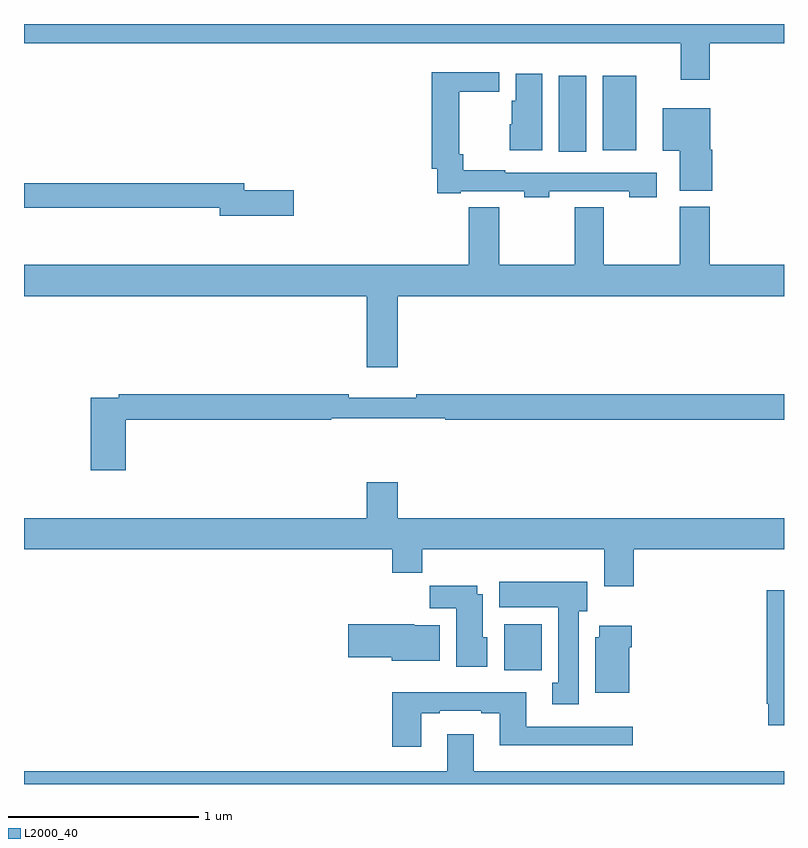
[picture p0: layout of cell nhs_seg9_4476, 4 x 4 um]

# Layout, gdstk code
import gdstk
lib = gdstk.Library(unit=1e-6, precision=1e-09)
def R(c, l, rs):  # rectangles x0, y0, x1, y1
    for r in rs: c.add(gdstk.rectangle(r[:2], r[2:], *l))
def P(c, l, *ps):  # polygons
    for p in ps: c.add(gdstk.Polygon(p, *l))
L2000_40 = (2000, 40)

nhs_seg9_4476 = lib.new_cell('nhs_seg9_4476')
R(nhs_seg9_4476, L2000_40, [(369.527,1213.1,369.724,1213.342), (369.815,1215.828,369.958,1216.228), (370.046,1215.836,370.222,1216.228)])
P(nhs_seg9_4476, L2000_40, [(370.61,1216.4),(371,1216.4),(371,1216.5),(367,1216.5),(367,1216.4),(370.457,1216.4),(370.457,1216.206),(370.61,1216.206)],
  [(369.765,1215.621),(370.185,1215.621),(370.185,1215.589),(370.33,1215.589),(370.33,1215.717),(369.533,1215.717),(369.533,1215.73),(369.311,1215.73),(369.311,1215.814),(369.292,1215.814),(369.292,1216.144),(369.502,1216.144),(369.502,1216.246),(369.146,1216.246),(369.146,1215.737),(369.175,1215.737),(369.175,1215.609),(369.298,1215.609),(369.298,1215.621),(369.633,1215.621),(369.633,1215.589),(369.765,1215.589)],
  [(369.727,1216.237),(369.587,1216.237),(369.587,1216.095),(369.566,1216.095),(369.566,1215.972),(369.557,1215.972),(369.557,1215.836),(369.727,1215.836)],
  [(370.622,1215.837),(370.612,1215.837),(370.612,1216.057),(370.361,1216.057),(370.361,1215.833),(370.451,1215.833),(370.451,1215.623),(370.622,1215.623)],
  [(368.419,1215.626),(368.158,1215.626),(368.158,1215.662),(367,1215.662),(367,1215.534),(368.03,1215.534),(368.03,1215.491),(368.419,1215.491)],
  [(368.968,1215.068),(371,1215.068),(371,1215.232),(370.61,1215.232),(370.61,1215.538),(370.45,1215.538),(370.45,1215.232),(370.052,1215.232),(370.052,1215.536),(369.898,1215.536),(369.898,1215.232),(369.5,1215.232),(369.5,1215.536),(369.341,1215.536),(369.341,1215.232),(367,1215.232),(367,1215.068),(368.804,1215.068),(368.804,1214.694),(368.968,1214.694)],
  [(367.535,1214.416),(368.618,1214.416),(368.618,1214.424),(369.218,1214.424),(369.218,1214.416),(371,1214.416),(371,1214.552),(369.064,1214.552),(369.064,1214.533),(368.708,1214.533),(368.708,1214.552),(367.498,1214.552),(367.498,1214.532),(367.352,1214.532),(367.352,1214.151),(367.535,1214.151)],
  [(370.208,1213.736),(371,1213.736),(371,1213.9),(368.968,1213.9),(368.968,1214.089),(368.804,1214.089),(368.804,1213.9),(367,1213.9),(367,1213.736),(368.939,1213.736),(368.939,1213.612),(369.095,1213.612),(369.095,1213.736),(370.055,1213.736),(370.055,1213.542),(370.208,1213.542)],
  [(369.919,1213.41),(369.964,1213.41),(369.964,1213.564),(369.5,1213.564),(369.5,1213.43),(369.812,1213.43),(369.812,1213.034),(369.779,1213.034),(369.779,1212.921),(369.919,1212.921)],
  [(369.439,1213.272),(369.415,1213.272),(369.415,1213.498),(369.385,1213.498),(369.385,1213.543),(369.136,1213.543),(369.136,1213.424),(369.275,1213.424),(369.275,1213.118),(369.439,1213.118)],
  [(371,1213.52),(370.909,1213.52),(370.909,1212.922),(370.917,1212.922),(370.917,1212.81),(371,1212.81)],
  [(369.187,1213.336),(369.054,1213.336),(369.054,1213.342),(368.706,1213.342),(368.706,1213.166),(368.936,1213.166),(368.936,1213.148),(369.187,1213.148)],
  [(370.186,1213.22),(370.199,1213.22),(370.199,1213.333),(370.028,1213.333),(370.028,1213.272),(370.007,1213.272),(370.007,1212.98),(370.186,1212.98)],
  [(369.091,1212.873),(369.187,1212.873),(369.187,1212.885),(369.407,1212.885),(369.407,1212.873),(369.503,1212.873),(369.503,1212.704),(370.204,1212.704),(370.204,1212.801),(369.643,1212.801),(369.643,1212.982),(368.939,1212.982),(368.939,1212.696),(369.091,1212.696)],
  [(371,1212.568),(369.367,1212.568),(369.367,1212.763),(369.227,1212.763),(369.227,1212.568),(367,1212.568),(367,1212.5),(371,1212.5)])

lib.write_gds('nhs_seg9_4476.gds')
